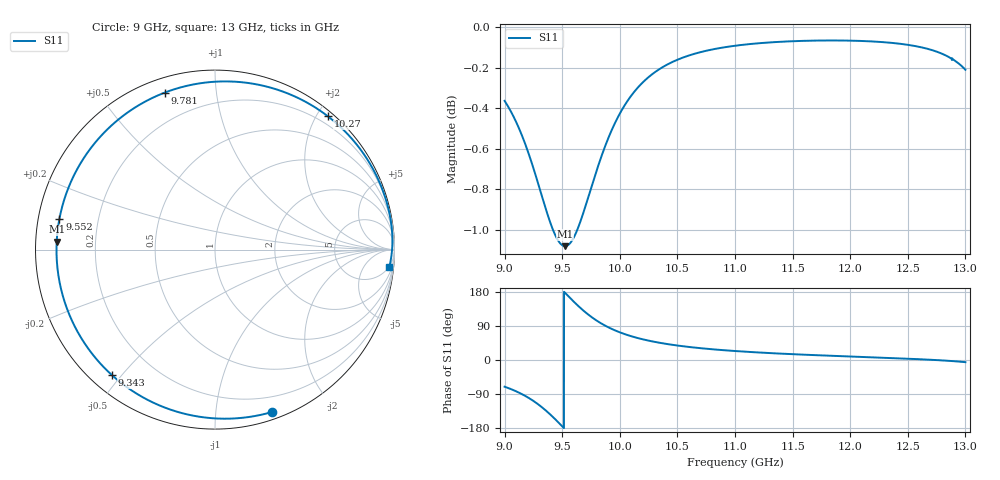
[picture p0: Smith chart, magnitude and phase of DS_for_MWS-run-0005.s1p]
! TOUCHSTONE file generated by CST DESIGN STUDIO
! Date and time: Tue Feb  4 13:34:37 2025
! Project name: C:\Work\MatlabApps\UnitCellOptimizationMatlab\CST\unitcell.cst
! Tree item: Tasks\Sweep1\SPara1\S-Parameters
! Header version: 2024
! Port assignment regex: !\s*Touchstone port\s*([0-9]+)\s*=\s*(CST MWS port|CST DES external port|CST DES block port)\s*(.+)\s* \(\"(.*)\"\)(\s*mode\s*([0-9]+))?.*
! Touchstone port assignment:
! Touchstone port 1 = CST DES external port 1 ("")
# GHz S MA R 50
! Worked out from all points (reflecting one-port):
!   4001 points, 9 GHz to 13 GHz, reference 50 ohm
!   lowest |S11| = -1.1 dB at 9.525 GHz (marker M1), VSWR 16.10, Z = 3.11 + j1.23 ohm
!   phase of S11 starts at -70 deg and turns -295 deg over the sweep
!   S11 on the Smith chart (normalised r, x): 9 GHz: 0.06, -1.41; 9.343 GHz: 0.06, -0.47; 9.552 GHz: 0.06, +0.10; 9.781 GHz: 0.07, +0.73; 10.27 GHz: 0.08, +2.15; 13 GHz: 5, -19
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9  0.9591 -70.5
9.094  0.9485 -81.8
9.2  0.9323 -98.4
9.275  0.9183 -113.3
9.343  0.9048 -129.4
9.385  0.8969 -140.6
9.429  0.89 -153.2
9.465  0.8859 -164.1
9.5  0.8836 -175.0
9.525  0.8831 177.2
9.552  0.8837 168.7
9.606  0.8881 152.3
9.669  0.8974 134.4
9.724  0.9076 120.4
9.781  0.9185 107.7
9.827  0.927 98.6
9.877  0.9354 90.0
10  0.9522 73.0
10.126  0.9641 60.4
10.271  0.9732 49.8
10.5  0.9818 38.2
10.721  0.9864 30.6
11  0.9896 23.7
11.5  0.9922 15.3
12  0.9925 9.2
12.5  0.9901 3.4
12.785  0.9855 -0.8
13  0.9762 -5.7
